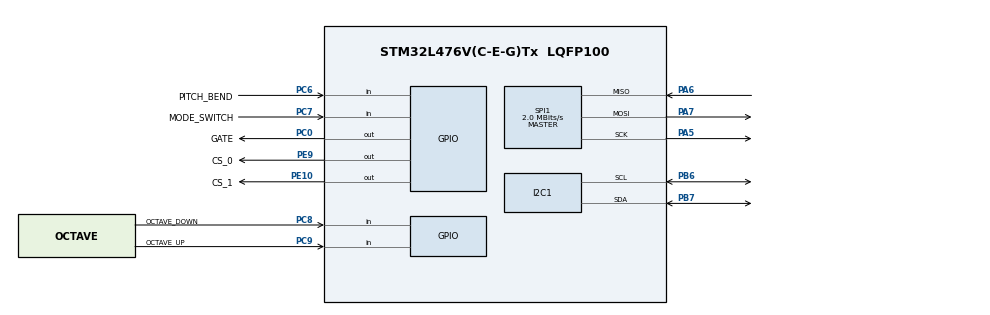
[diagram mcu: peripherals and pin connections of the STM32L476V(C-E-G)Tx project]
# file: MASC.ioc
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Mcu.Family=STM32L4
Mcu.Name=STM32L476V(C-E-G)Tx
Mcu.Package=LQFP100
NVIC.PriorityGroup=NVIC_PRIORITYGROUP_4
PA13\ (JTMS-SWDIO).Signal=SYS_JTMS-SWDIO
PA14\ (JTCK-SWCLK).Signal=SYS_JTCK-SWCLK
PA5.Mode=Full_Duplex_Master
PA5.Signal=SPI1_SCK
PA6.Mode=Full_Duplex_Master
PA6.Signal=SPI1_MISO
PA7.Mode=Full_Duplex_Master
PA7.Signal=SPI1_MOSI
PB3\ (JTDO-TRACESWO).Signal=SYS_JTDO-SWO
PB6.Mode=I2C
PB6.Signal=I2C1_SCL
PB7.Mode=I2C
PB7.Signal=I2C1_SDA
PC0.GPIO_Label=GATE
PC0.GPIO_ModeDefaultOutputPP=GPIO_MODE_OUTPUT_PP
PC0.GPIO_PuPd=GPIO_PULLDOWN
PC0.Signal=GPIO_Output
PC6.GPIO_Label=PITCH_BEND
PC6.GPIO_PuPd=GPIO_PULLUP
PC6.Signal=GPIO_Input
PC7.GPIO_Label=MODE_SWITCH
PC7.GPIO_PuPd=GPIO_PULLUP
PC7.Signal=GPIO_Input
PC8.GPIO_Label=OCTAVE_DOWN
PC8.GPIO_PuPd=GPIO_PULLUP
PC8.Signal=GPIO_Input
PC9.GPIO_Label=OCTAVE_UP
PC9.GPIO_PuPd=GPIO_PULLUP
PC9.Signal=GPIO_Input
PE10.GPIO_Label=CS_1
PE10.Signal=GPIO_Output
PE9.GPIO_Label=CS_0
PE9.Signal=GPIO_Output
ProjectManager.HeapSize=0x200
ProjectManager.StackSize=0x400
ProjectManager.TargetToolchain=Makefile
RCC.HSE_VALUE=8000000
RCC.HSI_VALUE=16000000
RCC.LSE_VALUE=32768
RCC.MSI_VALUE=4000000
RCC.VCOOutputFreq_Value=32000000
SPI1.BaudRatePrescaler=SPI_BAUDRATEPRESCALER_2
SPI1.CalculateBaudRate=2.0 MBits/s
SPI1.DataSize=SPI_DATASIZE_8BIT
SPI1.Direction=SPI_DIRECTION_2LINES
SPI1.Mode=SPI_MODE_MASTER
SPI1.NSSPMode=SPI_NSS_PULSE_DISABLE
SPI1.VirtualType=VM_MASTER
board=custom

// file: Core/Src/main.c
/* USER CODE BEGIN Header */
/**
  ******************************************************************************
  * @file           : main.c
  * @brief          : Main program body
  ******************************************************************************
  * @attention
  *
  * Copyright (c) 2023 STMicroelectronics.
  * All rights reserved.
  *
  * This software is licensed under terms that can be found in the LICENSE file
  * in the root directory of this software component.
  * If no LICENSE file comes with this software, it is provided AS-IS.
  *
  ******************************************************************************
  */
/* USER CODE END Header */
#include "main.h"
#include "i2c.h"
#include "spi.h"
#include "gpio.h"

/* USER CODE BEGIN Includes */
#include "tusb.h"
#include "tusb_config.h"
#include "board_api.h"
/* USER CODE END Includes */

/* USER CODE BEGIN PD */
#define THRESHOLD 200
/* USER CODE END PD */

/* USER CODE BEGIN PV */
int octave_num = 1;
bool flag1 = false;
bool flag2 = false;
uint32_t ADC1_VAL[ 8 ]; // one element for each ADC channel (one device)
uint32_t ADC2_VAL[ 8 ]; // one element for each ADC channel (one device)
uint16_t KEYPRESS = 0;
uint16_t KEYPRESSED = 0;
uint8_t DAC_VAL = 0;

/* USER CODE END PV */

void SystemClock_Config(void);
/* USER CODE BEGIN PFP */

// Separate into individual file eventually??
void READ_KEYPRESS(uint32_t adc1_val[], uint32_t adc2_val[]);
uint8_t HALL_TO_DAC(uint32_t adc1_val[], uint32_t adc2_val[], int octave_num);
uint8_t DAC_TO_MIDI(uint8_t val);
void MIDI_TASK(int octave_num);

/* USER CODE END PFP */

int main(void)
{

  /* MCU Configuration--------------------------------------------------------*/

  /* Reset of all peripherals, Initializes the Flash interface and the Systick. */
  HAL_Init();

  /* Configure the system clock */
  /* Disable System Clock Init - Use Custom Function */
  //SystemClock_Config();

  /* USER CODE BEGIN SysInit */
  board_init();
  /* USER CODE END SysInit */

  /* Initialize all configured peripherals */
  MX_GPIO_Init();
  MX_I2C1_Init();
  MX_SPI1_Init();
  /* USER CODE BEGIN 2 */

  /* Initialize tinyUSB */
  tusb_init();
  tud_task(); //necessary?

  Init_ADC();
  Reset_DAC();

  /* USER CODE END 2 */

  /* Infinite loop */
  /* USER CODE BEGIN WHILE */
  while (1)
  {

    /* Periodically call tinyUSB task */
    tud_task();

    // poll to see if octave up button pressed
    if (!HAL_GPIO_ReadPin(GPIOC, OCTAVE_UP_Pin) && !flag1){
      octave_num = octave_num + 1;
      if(octave_num > 4) octave_num = 4;
      flag1 = true;
    }
    if (HAL_GPIO_ReadPin(GPIOC, OCTAVE_UP_Pin)) flag1 = false;

    // poll to see if octave down switch pressed
    if (!HAL_GPIO_ReadPin(GPIOC, OCTAVE_DOWN_Pin) && !flag2){
      octave_num = octave_num - 1;
      if(octave_num < 0) octave_num = 0;
      flag2 = true;
    }
    if (HAL_GPIO_ReadPin(GPIOC, OCTAVE_DOWN_Pin)) flag2 = false;

    // Read values from all channels of ADC_1
    for (int i = 0; i < 8; i++) {
      ADC1_VAL[i] = Read_ADC(0,i); // CS = 0, CH = i
    }
    // Read values from all channels of ADC_2
    for (int i = 0; i < 8; i++) {
      ADC2_VAL[i] = Read_ADC(1,i); // CS = 1, CH = i
    }

    /* CHECK OUTPUT SWITCH- continue with either MIDI or DAC*/

    if (!HAL_GPIO_ReadPin(GPIOC, MODE_SWITCH_Pin)) {

        DAC_VAL = HALL_TO_DAC(ADC1_VAL,ADC2_VAL,octave_num);
        // set CV and GATE voltage if keypress
        if(DAC_VAL) {
            HAL_GPIO_WritePin(GATE_GPIO_Port, GATE_Pin, GPIO_PIN_SET);
            Set_DAC(DAC_VAL);
        } else {
           HAL_GPIO_WritePin(GATE_GPIO_Port, GATE_Pin, GPIO_PIN_RESET);
           Set_DAC(0x0);
        }
    }

    /* Send MIDI signal, set DAC = 0, GATE low */

    else {
        HAL_GPIO_WritePin(GATE_GPIO_Port, GATE_Pin, GPIO_PIN_RESET);
        Set_DAC(0x0);
        READ_KEYPRESS(ADC1_VAL,ADC2_VAL);
        MIDI_TASK(octave_num);
    }

    /* USER CODE END WHILE */

  }
}

void SystemClock_Config(void)
{
  RCC_OscInitTypeDef RCC_OscInitStruct = {0};
  RCC_ClkInitTypeDef RCC_ClkInitStruct = {0};

  /** Configure the main internal regulator output voltage
  */
  if (HAL_PWREx_ControlVoltageScaling(PWR_REGULATOR_VOLTAGE_SCALE1) != HAL_OK)
  {
    Error_Handler();
  }

  /** Initializes the RCC Oscillators according to the specified parameters
  * in the RCC_OscInitTypeDef structure.
  */
  RCC_OscInitStruct.OscillatorType = RCC_OSCILLATORTYPE_MSI;
  RCC_OscInitStruct.MSIState = RCC_MSI_ON;
  RCC_OscInitStruct.MSICalibrationValue = 0;
  RCC_OscInitStruct.MSIClockRange = RCC_MSIRANGE_6;
  RCC_OscInitStruct.PLL.PLLState = RCC_PLL_NONE;
  if (HAL_RCC_OscConfig(&RCC_OscInitStruct) != HAL_OK)
  {
    Error_Handler();
  }

  /** Initializes the CPU, AHB and APB buses clocks
  */
  RCC_ClkInitStruct.ClockType = RCC_CLOCKTYPE_HCLK|RCC_CLOCKTYPE_SYSCLK
                              |RCC_CLOCKTYPE_PCLK1|RCC_CLOCKTYPE_PCLK2;
  RCC_ClkInitStruct.SYSCLKSource = RCC_SYSCLKSOURCE_MSI;
  RCC_ClkInitStruct.AHBCLKDivider = RCC_SYSCLK_DIV1;
  RCC_ClkInitStruct.APB1CLKDivider = RCC_HCLK_DIV1;
  RCC_ClkInitStruct.APB2CLKDivider = RCC_HCLK_DIV1;

  if (HAL_RCC_ClockConfig(&RCC_ClkInitStruct, FLASH_LATENCY_0) != HAL_OK)
  {
    Error_Handler();
  }
}

/* USER CODE BEGIN 4 */
void MIDI_TASK(int octave_num){
    uint8_t const cable_num = 0; // MIDI jack associated with USB endpoint
    uint8_t const channel   = 0; // 0 for channel 1

    // The MIDI interface always creates input and output port/jack descriptors
    // regardless of these being used or not. Therefore incoming traffic should be read
    // (possibly just discarded) to avoid the sender blocking in IO
    uint8_t packet[4];
    while ( tud_midi_available() ) tud_midi_packet_read(packet);

    static int octave_history;

    uint8_t note_on[3];
    uint8_t note_off[3];

    /* Determine on/off state of each key */
    for(int i=0;i<12;i++){

        // "First" key press
        if ((((KEYPRESS >> i) & 0x1) == 1) && ((KEYPRESSED >> i) == 0)) {
            KEYPRESSED = KEYPRESSED | (0x1 << i);
            note_on[0] = 0x90 | channel; // note on byte
            note_on[1] = (12*octave_num + 24 + i); // note value byte
            note_on[2] = 127; // velocity byte
            tud_midi_stream_write(cable_num, note_on, 3); //write message
        }

        // if key is being sustained
        else if((((KEYPRESS >> i) & 0x1) == 1) && ((KEYPRESSED >> i) == 1)){
            // do nothing if octave doesn't change
            if(octave_history == octave_num) continue;
            // shift up/down an octave if button pressed during note
            else {
                note_off[0] = 0x80 | channel; // note off byte
                note_off[1] = (12*octave_history + 24 + i);
                note_off[2] = 0;
                tud_midi_stream_write(cable_num, note_off, 3);

                KEYPRESSED = KEYPRESSED | (0x1 << i);
                note_on[0] = 0x90 | channel;
                note_on[1] = (12*octave_num + 24 + i);
                note_on[2] = 127;
                tud_midi_stream_write(cable_num, note_on, 3);
            }
        }
        // if key just released
        else if((((KEYPRESS >> i) & 0x1) == 0) && ((KEYPRESSED >> i) == 1)){
            KEYPRESSED = KEYPRESSED & (0x0 << i);
            note_off[0] = 0x80 | channel;
            note_off[1] = (12*octave_num + 24 + i);
            note_off[2] = 0;
            tud_midi_stream_write(cable_num, note_off, 3);
        }
        else {
            if(octave_history == octave_num) continue;
            else {
                note_off[0] = 0x80 | channel;
                note_off[1] = (12*octave_history + 24 + i);
                note_off[2] = 0;
                tud_midi_stream_write(cable_num, note_off, 3);
            }
        }
    }
    octave_history = octave_num;
}

/* READ ALL CURRENTLY PRESSED KEYS */
void READ_KEYPRESS(uint32_t adc1_val[], uint32_t adc2_val[]) {
   KEYPRESS = 0x0;
   for (int i = 0; i < 12; i++) {
        if (i < 6) {
            if (adc1_val[i] < THRESHOLD) {
                /* Debouncing */
                HAL_Delay(50);
                if (adc1_val[i] < THRESHOLD) KEYPRESS |= 0b1 << i;
            }
        }
        else {
            if (adc2_val[i - 6] < THRESHOLD) {
                /* Debouncing */
                HAL_Delay(50);
                if (adc2_val[i-6] < THRESHOLD) KEYPRESS |= 0b1 << i;
            }
        }
    }
}

/* HALL EFFECT SENSOR TO DAC OUTPUT CONVERSION */

uint8_t HALL_TO_DAC(uint32_t adc1_val[], uint32_t adc2_val[], int octave_num) {
    int channel_num = 12;

    for (int i = 0; i < 12; i++) {
        if (i < 6) {
            if (adc1_val[i] < THRESHOLD) {
                HAL_Delay(50);
                if (adc1_val[i] < THRESHOLD){
                    channel_num = i;
                    break;
                }
            }
        }
        else {
            if (adc2_val[i - 6] < THRESHOLD) {
                HAL_Delay(50);
                if (adc2_val[i - 6] < THRESHOLD) {
                    channel_num = i;
                    break;
                }
            }
        }
    }

    if (octave_num == 0) { // 0-50
        if (channel_num == 0) {
            return 3;
        } else if (channel_num == 1) {
            return 7;
        } else if (channel_num == 2) {
            return 11;
        } else if (channel_num == 3) {
            return 15;
        } else if (channel_num == 4) {
            return 19;
        } else if (channel_num == 5) {
            return 23;
        } else if (channel_num == 6) {
            return 27;
        } else if (channel_num == 7) {
            return 31;
        } else if (channel_num == 8) {
            return 35;
        } else if (channel_num == 9) {
            return 39;
        } else if (channel_num == 10) {
            return 43;
        } else if (channel_num == 11) {
            return 47;
        }
    } else if (octave_num == 1) { // 51-101
        if (channel_num == 0) {
            return 54;
        } else if (channel_num == 1) {
            return 58;
        } else if (channel_num == 2) {
            return 62;
        } else if (channel_num == 3) {
            return 66;
        } else if (channel_num == 4) {
            return 70;
        } else if (channel_num == 5) {
            return 74;
        } else if (channel_num == 6) {
            return 78;
        } else if (channel_num == 7) {
            return 82;
        } else if (channel_num == 8) {
            return 86;
        } else if (channel_num == 9) {
            return 90;
        } else if (channel_num == 10) {
            return 94;
        } else if (channel_num == 11) {
            return 98;
        }
    } else if (octave_num == 2) { // 102-152
        if (channel_num == 0) {
            return 105;
        } else if (channel_num == 1) {
            return 109;
        } else if (channel_num == 2) {
            return 113;
        } else if (channel_num == 3) {
            return 117;
        } else if (channel_num == 4) {
            return 121;
        } else if (channel_num == 5) {
            return 125;
        } else if (channel_num == 6) {
            return 129;
        } else if (channel_num == 7) {
            return 133;
        } else if (channel_num == 8) {
            return 137;
        } else if (channel_num == 9) {
            return 141;
        } else if (channel_num == 10) {
            return 145;
        } else if (channel_num == 11) {
            return 149;
        }
    } else if (octave_num == 3) { // 153-203
        if (channel_num == 0) {
            return 156;
        } else if (channel_num == 1) {
            return 160;
        } else if (channel_num == 2) {
            return 164;
        } else if (channel_num == 3) {
            return 168;
        } else if (channel_num == 4) {
            return 172;
        } else if (channel_num == 5) {
            return 176;
        } else if (channel_num == 6) {
            return 180;
        } else if (channel_num == 7) {
            return 184;
        } else if (channel_num == 8) {
            return 188;
        } else if (channel_num == 9) {
            return 192;
        } else if (channel_num == 10) {
            return 196;
        } else if (channel_num == 11) {
            return 200;
        }
    } else { // 204-255
        if (channel_num == 0) {
            return 207;
        } else if (channel_num == 1) {
            return 211;
        } else if (channel_num == 2) {
            return 215;
        } else if (channel_num == 3) {
            return 219;
        } else if (channel_num == 4) {
            return 223;
        } else if (channel_num == 5) {
            return 227;
        } else if (channel_num == 6) {
            return 231;
        } else if (channel_num == 7) {
            return 235;
        } else if (channel_num == 8) {
            return 239;
        } else if (channel_num == 9) {
            return 243;
        } else if (channel_num == 10) {
            return 247;
        } else if (channel_num == 11) {
            return 251;
        }
    }
    return 0x0;
}

uint8_t DAC_TO_MIDI(uint8_t val){
  uint8_t midi = 0;
  if((val > 0) && (val < 48)) midi = val/4;
  else midi = (val/4) - 1;

  return midi;
}

/* USER CODE END 4 */

void Error_Handler(void)
{
  __disable_irq();
  while (1)
  {
  }
}
